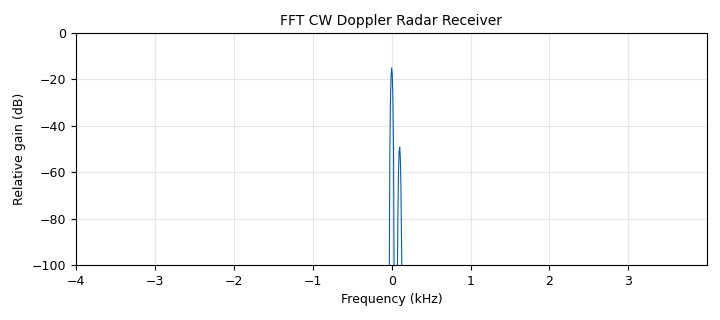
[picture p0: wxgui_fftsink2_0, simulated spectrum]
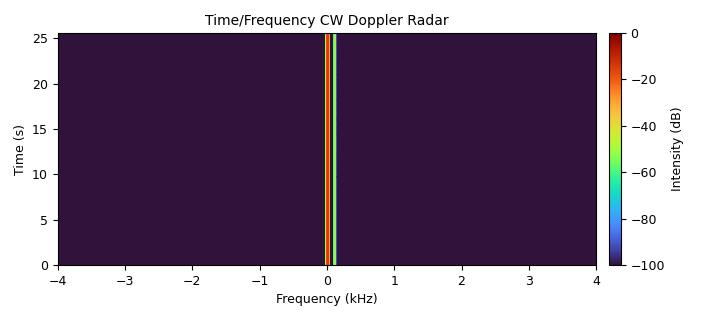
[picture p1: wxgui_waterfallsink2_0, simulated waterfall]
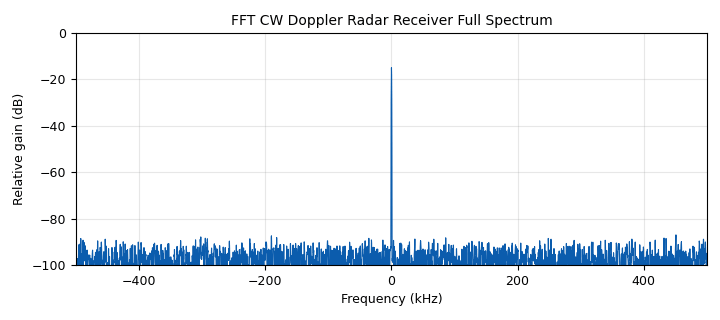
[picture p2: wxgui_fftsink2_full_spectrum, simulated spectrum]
<?xml version='1.0' encoding='utf-8'?>
<?grc format='1' created='3.7.6'?>
<flow_graph>
<block>
<key>blocks_add_xx</key>
<param><key>id</key><value>blocks_add_xx_1</value></param>
<param><key>type</key><value>complex</value></param>
<param><key>num_inputs</key><value>3</value></param>
</block>
<block>
<key>blocks_stream_to_vector</key>
<param><key>id</key><value>blocks_stream_to_vector_0</value></param>
<param><key>type</key><value>complex</value></param>
<param><key>num_items</key><value>fft_len</value></param>
</block>
<block>
<key>blocks_keep_m_in_n</key>
<param><key>id</key><value>blocks_keep_m_in_n_0</value></param>
<param><key>type</key><value>float</value></param>
<param><key>m</key><value>fft_len/2</value></param>
<param><key>n</key><value>fft_len</value></param>
<param><key>offset</key><value>0</value></param>
</block>
<block>
<key>blocks_stream_to_vector</key>
<param><key>id</key><value>blocks_stream_to_vector_1_0</value></param>
<param><key>type</key><value>float</value></param>
<param><key>num_items</key><value>fft_len/2</value></param>
</block>
<block>
<key>blocks_stream_to_vector</key>
<param><key>id</key><value>blocks_stream_to_vector_1</value></param>
<param><key>type</key><value>float</value></param>
<param><key>num_items</key><value>fft_len/2</value></param>
</block>
<block>
<key>blocks_throttle</key>
<param><key>id</key><value>blocks_throttle_0_1_0</value></param>
<param><key>type</key><value>complex</value></param>
<param><key>samples_per_second</key><value>samp_rate</value></param>
</block>
<block>
<key>rational_resampler_xxx</key>
<param><key>id</key><value>rational_resampler</value></param>
<param><key>type</key><value>ccc</value></param>
<param><key>interp</key><value>1</value></param>
<param><key>decim</key><value>int(samp_rate/samp_rate_sink)</value></param>
<param><key>taps</key><value></value></param>
</block>
<block>
<key>blocks_vector_to_stream</key>
<param><key>id</key><value>blocks_vector_to_stream_0</value></param>
<param><key>type</key><value>float</value></param>
<param><key>num_items</key><value>fft_len</value></param>
</block>
<block>
<key>blocks_vector_to_stream</key>
<param><key>id</key><value>blocks_vector_to_stream_0_0</value></param>
<param><key>type</key><value>float</value></param>
<param><key>num_items</key><value>fft_len</value></param>
</block>
<block>
<key>blocks_complex_to_mag</key>
<param><key>id</key><value>blocks_complex_to_mag</value></param>
<param><key>vlen</key><value>fft_len</value></param>
</block>
<block>
<key>blocks_multiply_xx</key>
<param><key>id</key><value>mixer</value></param>
<param><key>type</key><value>complex</value></param>
</block>
<block>
<key>blocks_add_xx</key>
<param><key>id</key><value>blocks_add_xx_0</value></param>
<param><key>type</key><value>complex</value></param>
</block>
<block>
<key>fft_vxx</key>
<param><key>id</key><value>fft</value></param>
<param><key>type</key><value>complex</value></param>
<param><key>fft_size</key><value>fft_len</value></param>
<param><key>forward</key><value>True</value></param>
<param><key>window</key><value>window.blackmanharris(fft_len)</value></param>
<param><key>shift</key><value>True</value></param>
</block>
<block>
<key>blocks_keep_m_in_n</key>
<param><key>id</key><value>blocks_keep_m_in_n_0_0</value></param>
<param><key>type</key><value>float</value></param>
<param><key>m</key><value>fft_len/2</value></param>
<param><key>n</key><value>fft_len</value></param>
<param><key>offset</key><value>fft_len/2</value></param>
</block>
<block>
<key>analog_sig_source_x</key>
<param><key>id</key><value>tx_signal</value></param>
<param><key>type</key><value>complex</value></param>
<param><key>samp_rate</key><value>samp_rate</value></param>
<param><key>waveform</key><value>analog.GR_COS_WAVE</value></param>
<param><key>freq</key><value>0</value></param>
<param><key>amp</key><value>0.5</value></param>
<param><key>offset</key><value>0</value></param>
</block>
<block>
<key>analog_sig_source_x</key>
<param><key>id</key><value>rx_signal_0</value></param>
<param><key>type</key><value>complex</value></param>
<param><key>samp_rate</key><value>samp_rate</value></param>
<param><key>waveform</key><value>analog.GR_COS_WAVE</value></param>
<param><key>freq</key><value>doppler_freq_sim_tuner</value></param>
<param><key>amp</key><value>tx_amp_tuner</value></param>
<param><key>offset</key><value>0</value></param>
</block>
<block>
<key>cwradar_vector_flip_ff</key>
<param><key>id</key><value>cwradar_vector_flip_ff</value></param>
<param><key>vlen</key><value>fft_len/2</value></param>
</block>
<block>
<key>parameter</key>
<param><key>id</key><value>angle</value></param>
<param><key>label</key><value>Angle (Deg)</value></param>
<param><key>value</key><value>0</value></param>
<param><key>type</key><value>eng_float</value></param>
</block>
<block>
<key>parameter</key>
<param><key>id</key><value>samp_rate</value></param>
<param><key>label</key><value>Sample Rate (Hz)</value></param>
<param><key>value</key><value>1e6</value></param>
<param><key>type</key><value>eng_float</value></param>
</block>
<block>
<key>variable_function_probe</key>
<param><key>id</key><value>target_speed</value></param>
<param><key>value</key><value>0</value></param>
<param><key>block_id</key><value>speed_probe</value></param>
<param><key>function_name</key><value>level</value></param>
<param><key>poll_rate</key><value>2</value></param>
</block>
<block>
<key>variable_function_probe</key>
<param><key>id</key><value>target_direction</value></param>
<param><key>value</key><value>0</value></param>
<param><key>block_id</key><value>direction_probe</value></param>
<param><key>function_name</key><value>level</value></param>
<param><key>poll_rate</key><value>2</value></param>
</block>
<block>
<key>wxgui_fftsink2</key>
<param><key>id</key><value>wxgui_fftsink2_0</value></param>
<param><key>type</key><value>complex</value></param>
<param><key>title</key><value>FFT CW Doppler Radar Receiver </value></param>
<param><key>samp_rate</key><value>samp_rate_sink</value></param>
<param><key>baseband_freq</key><value>0</value></param>
<param><key>y_per_div</key><value>10</value></param>
<param><key>y_divs</key><value>10</value></param>
<param><key>ref_level</key><value>0</value></param>
<param><key>ref_scale</key><value>2.0</value></param>
<param><key>fft_size</key><value>1024</value></param>
<param><key>fft_rate</key><value>15</value></param>
<param><key>peak_hold</key><value>False</value></param>
<param><key>average</key><value>False</value></param>
<param><key>avg_alpha</key><value>0</value></param>
<param><key>win</key><value>window.blackmanharris</value></param>
<param><key>notebook</key><value>notebook, 0</value></param>
<param><key>freqvar</key><value>None</value></param>
</block>
<block>
<key>wxgui_waterfallsink2</key>
<param><key>id</key><value>wxgui_waterfallsink2_0</value></param>
<param><key>type</key><value>complex</value></param>
<param><key>title</key><value>Time/Frequency CW Doppler Radar</value></param>
<param><key>samp_rate</key><value>samp_rate_sink</value></param>
<param><key>baseband_freq</key><value>0</value></param>
<param><key>dynamic_range</key><value>100</value></param>
<param><key>ref_level</key><value>0</value></param>
<param><key>ref_scale</key><value>2.0</value></param>
<param><key>fft_size</key><value>1024</value></param>
<param><key>fft_rate</key><value>15</value></param>
<param><key>average</key><value>True</value></param>
<param><key>avg_alpha</key><value>0</value></param>
<param><key>win</key><value>window.blackmanharris</value></param>
<param><key>notebook</key><value>notebook, 1</value></param>
<param><key>freqvar</key><value>None</value></param>
</block>
<block>
<key>parameter</key>
<param><key>id</key><value>threshold_dB</value></param>
<param><key>label</key><value>Threshold (dB)</value></param>
<param><key>value</key><value>-70</value></param>
<param><key>type</key><value>eng_float</value></param>
</block>
<block>
<key>parameter</key>
<param><key>id</key><value>rx_gain</value></param>
<param><key>label</key><value>RX Gain (dB)</value></param>
<param><key>value</key><value>0</value></param>
<param><key>type</key><value>intx</value></param>
</block>
<block>
<key>parameter</key>
<param><key>id</key><value>samp_rate_sink</value></param>
<param><key>label</key><value>Sample Rate FFT Sink (Hz)</value></param>
<param><key>value</key><value>8000</value></param>
<param><key>type</key><value>intx</value></param>
</block>
<block>
<key>parameter</key>
<param><key>id</key><value>tx_amp</value></param>
<param><key>label</key><value>TX Amplitude</value></param>
<param><key>value</key><value>10e-3</value></param>
<param><key>type</key><value>eng_float</value></param>
</block>
<block>
<key>parameter</key>
<param><key>id</key><value>lowpass_cutoff_freq</value></param>
<param><key>label</key><value>Low-Pass Cutoff Frequency (Hz)</value></param>
<param><key>value</key><value>1700</value></param>
<param><key>type</key><value>eng_float</value></param>
</block>
<block>
<key>parameter</key>
<param><key>id</key><value>RF</value></param>
<param><key>label</key><value>Radio Frequency (Hz)</value></param>
<param><key>value</key><value>2.49e9</value></param>
<param><key>type</key><value>eng_float</value></param>
</block>
<block>
<key>parameter</key>
<param><key>id</key><value>fft_len</value></param>
<param><key>label</key><value>FFT Length</value></param>
<param><key>value</key><value>pow(2,20)</value></param>
<param><key>type</key><value>intx</value></param>
</block>
<block>
<key>parameter</key>
<param><key>id</key><value>speed_samp_rate</value></param>
<param><key>label</key><value>Speed Sample Rate (Hz)</value></param>
<param><key>value</key><value>1</value></param>
<param><key>type</key><value>eng_float</value></param>
</block>
<block>
<key>parameter</key>
<param><key>id</key><value>DC_filter_num_elements</value></param>
<param><key>label</key><value>DC Filter Num Elements</value></param>
<param><key>value</key><value>4</value></param>
<param><key>type</key><value>intx</value></param>
</block>
<block>
<key>blocks_multiply_const_vxx</key>
<param><key>id</key><value>DC_filter</value></param>
<param><key>type</key><value>float</value></param>
<param><key>const</key><value>[0]*DC_filter_num_elements+[1]*((fft_len/2)-DC_filter_num_elements)</value></param>
<param><key>vlen</key><value>fft_len/2</value></param>
</block>
<block>
<key>blocks_multiply_const_vxx</key>
<param><key>id</key><value>DC_filter_0</value></param>
<param><key>type</key><value>float</value></param>
<param><key>const</key><value>[0]*DC_filter_num_elements+[1]*((fft_len/2)-DC_filter_num_elements)</value></param>
<param><key>vlen</key><value>fft_len/2</value></param>
</block>
<block>
<key>cwradar_doppler_velocity_single_target_ff</key>
<param><key>id</key><value>cwradar_doppler_velocity_single_target_ff_0</value></param>
<param><key>vlen</key><value>fft_len/2</value></param>
<param><key>samples_per_sec</key><value>samp_rate</value></param>
<param><key>radar_freq</key><value>RF_tuner</value></param>
<param><key>signal_min_dB</key><value>threshold_dB_tuner</value></param>
<param><key>angle_of_approach</key><value>angle_tuner</value></param>
<param><key>lowpass_cut_freq</key><value>lowpass_cutoff_freq_tuner</value></param>
<param><key>highpass_cut_freq</key><value>highpass_cutoff_freq_tuner</value></param>
</block>
<block>
<key>parameter</key>
<param><key>id</key><value>highpass_cutoff_freq</value></param>
<param><key>label</key><value>High-Pass Cutoff Frequency (Hz)</value></param>
<param><key>value</key><value>0</value></param>
<param><key>type</key><value>eng_float</value></param>
</block>
<block>
<key>blocks_probe_signal_x</key>
<param><key>id</key><value>speed_probe</value></param>
<param><key>type</key><value>float</value></param>
</block>
<block>
<key>blocks_probe_signal_x</key>
<param><key>id</key><value>direction_probe</value></param>
<param><key>type</key><value>int</value></param>
</block>
<block>
<key>wxgui_fftsink2</key>
<param><key>id</key><value>wxgui_fftsink2_full_spectrum</value></param>
<param><key>type</key><value>complex</value></param>
<param><key>title</key><value>FFT CW Doppler Radar Receiver Full Spectrum</value></param>
<param><key>samp_rate</key><value>samp_rate</value></param>
<param><key>baseband_freq</key><value>0</value></param>
<param><key>y_per_div</key><value>10</value></param>
<param><key>y_divs</key><value>10</value></param>
<param><key>ref_level</key><value>0</value></param>
<param><key>ref_scale</key><value>2.0</value></param>
<param><key>fft_size</key><value>4096</value></param>
<param><key>fft_rate</key><value>15</value></param>
<param><key>peak_hold</key><value>False</value></param>
<param><key>average</key><value>False</value></param>
<param><key>avg_alpha</key><value>0</value></param>
<param><key>win</key><value>window.blackmanharris</value></param>
<param><key>notebook</key><value>notebook, 2</value></param>
<param><key>freqvar</key><value>None</value></param>
</block>
<block>
<key>analog_noise_source_x</key>
<param><key>id</key><value>awgn_channel_simulator</value></param>
<param><key>type</key><value>complex</value></param>
<param><key>noise_type</key><value>analog.GR_GAUSSIAN</value></param>
<param><key>amp</key><value>1e-3</value></param>
<param><key>seed</key><value>0</value></param>
</block>
<block>
<key>blocks_file_sink</key>
<param><key>id</key><value>file_negative_frequency</value></param>
<param><key>_enabled</key><value>False</value></param>
<param><key>file</key><value>CW_Radar_Simulator_ST_neg.dat</value></param>
<param><key>type</key><value>float</value></param>
<param><key>vlen</key><value>fft_len/2</value></param>
</block>
<block>
<key>blocks_file_sink</key>
<param><key>id</key><value>file_positive_frequency</value></param>
<param><key>_enabled</key><value>False</value></param>
<param><key>file</key><value>CW_Radar_Simulator_ST_pos.dat</value></param>
<param><key>type</key><value>float</value></param>
<param><key>vlen</key><value>fft_len/2</value></param>
</block>
<block>
<key>variable_slider</key>
<param><key>id</key><value>threshold_dB_tuner</value></param>
<param><key>label</key><value>Detected Target Threshold (dB)</value></param>
<param><key>value</key><value>threshold_dB</value></param>
<param><key>min</key><value>-90</value></param>
<param><key>max</key><value>-30</value></param>
<param><key>num_steps</key><value>60</value></param>
<param><key>style</key><value>wx.SL_HORIZONTAL</value></param>
<param><key>converver</key><value>float_converter</value></param>
<param><key>grid_pos</key><value>2,0,1,17</value></param>
</block>
<block>
<key>variable_slider</key>
<param><key>id</key><value>rx_gain_tuner</value></param>
<param><key>label</key><value>USRP RX Gain (dB)</value></param>
<param><key>value</key><value>rx_gain</value></param>
<param><key>min</key><value>0</value></param>
<param><key>max</key><value>70</value></param>
<param><key>num_steps</key><value>70</value></param>
<param><key>style</key><value>wx.SL_HORIZONTAL</value></param>
<param><key>converver</key><value>float_converter</value></param>
<param><key>grid_pos</key><value>0,0,1,17</value></param>
</block>
<block>
<key>variable_slider</key>
<param><key>id</key><value>RF_tuner</value></param>
<param><key>label</key><value>Radar Frequency (Hz)</value></param>
<param><key>value</key><value>RF</value></param>
<param><key>min</key><value>2.4e9</value></param>
<param><key>max</key><value>2.5e9</value></param>
<param><key>num_steps</key><value>1000</value></param>
<param><key>style</key><value>wx.SL_HORIZONTAL</value></param>
<param><key>converver</key><value>float_converter</value></param>
<param><key>grid_pos</key><value>1,0,1,17</value></param>
</block>
<block>
<key>variable_slider</key>
<param><key>id</key><value>highpass_cutoff_freq_tuner</value></param>
<param><key>label</key><value>High-Pass Cutoff Frequency (Hz)</value></param>
<param><key>value</key><value>highpass_cutoff_freq</value></param>
<param><key>min</key><value>0</value></param>
<param><key>max</key><value>1600</value></param>
<param><key>num_steps</key><value>1000</value></param>
<param><key>style</key><value>wx.SL_HORIZONTAL</value></param>
<param><key>converver</key><value>float_converter</value></param>
<param><key>grid_pos</key><value>0,43,1,32</value></param>
</block>
<block>
<key>variable_slider</key>
<param><key>id</key><value>lowpass_cutoff_freq_tuner</value></param>
<param><key>label</key><value>Lowpass Cutoff Frequency (Hz)</value></param>
<param><key>value</key><value>lowpass_cutoff_freq</value></param>
<param><key>min</key><value>0</value></param>
<param><key>max</key><value>3000</value></param>
<param><key>num_steps</key><value>1000</value></param>
<param><key>style</key><value>wx.SL_HORIZONTAL</value></param>
<param><key>converver</key><value>float_converter</value></param>
<param><key>grid_pos</key><value>1,43,1,32</value></param>
</block>
<block>
<key>variable_slider</key>
<param><key>id</key><value>tx_amp_tuner</value></param>
<param><key>label</key><value>TX Signal Amp</value></param>
<param><key>value</key><value>tx_amp</value></param>
<param><key>min</key><value>0</value></param>
<param><key>max</key><value>100e-3</value></param>
<param><key>num_steps</key><value>1000</value></param>
<param><key>style</key><value>wx.SL_HORIZONTAL</value></param>
<param><key>converver</key><value>float_converter</value></param>
<param><key>grid_pos</key><value>0,17,1,26</value></param>
</block>
<block>
<key>variable_slider</key>
<param><key>id</key><value>angle_tuner</value></param>
<param><key>label</key><value>Angle of Approach of the Target (Deg)</value></param>
<param><key>value</key><value>angle</value></param>
<param><key>min</key><value>0</value></param>
<param><key>max</key><value>89</value></param>
<param><key>num_steps</key><value>890</value></param>
<param><key>style</key><value>wx.SL_HORIZONTAL</value></param>
<param><key>converver</key><value>float_converter</value></param>
<param><key>grid_pos</key><value>1,17,1,26</value></param>
</block>
<block>
<key>variable_text_box</key>
<param><key>id</key><value>speed_textbox</value></param>
<param><key>label</key><value>Target Speed (Kph)</value></param>
<param><key>value</key><value>target_speed</value></param>
<param><key>converver</key><value>float_converter</value></param>
<param><key>formatter</key><value>None</value></param>
<param><key>grid_pos</key><value>3,0,1,17</value></param>
</block>
<block>
<key>variable_text_box</key>
<param><key>id</key><value>direction_textbox</value></param>
<param><key>label</key><value>Target Direction</value></param>
<param><key>value</key><value>target_direction</value></param>
<param><key>converver</key><value>str_converter</value></param>
<param><key>formatter</key><value>None</value></param>
<param><key>grid_pos</key><value>4,0,1,17</value></param>
</block>
<block>
<key>notebook</key>
<param><key>id</key><value>notebook</value></param>
<param><key>style</key><value>wx.NB_TOP</value></param>
<param><key>labels</key><value>['FFT CW Doppler Radar Receiver', 'Frequency/Time CW Doppler Radar Receiver', 'FFT CW Doppler Radar Receiver Full Spectrum']</value></param>
<param><key>grid_pos</key><value>5,0,13,75</value></param>
</block>
<block>
<key>variable_slider</key>
<param><key>id</key><value>doppler_freq_sim_tuner</value></param>
<param><key>label</key><value>Doppler Frequency Simulator (Hz)</value></param>
<param><key>value</key><value>100</value></param>
<param><key>min</key><value>-2000</value></param>
<param><key>max</key><value>2000</value></param>
<param><key>num_steps</key><value>1000</value></param>
<param><key>style</key><value>wx.SL_HORIZONTAL</value></param>
<param><key>converver</key><value>float_converter</value></param>
<param><key>grid_pos</key><value>2,17,1,58</value></param>
</block>
<block>
<key>options</key>
<param><key>id</key><value>CW_Radar_Simulator_Single_Target</value></param>
<param><key>title</key><value>CW Doppler Radar Simulator Single Target</value></param>
<param><key>author</key><value>Gabriel Gomez Molina</value></param>
<param><key>description</key><value>CW Doppler Radar Simulator for the CW Radar Project</value></param>
<param><key>generate_options</key><value>wx_gui</value></param>
<param><key>category</key><value></value></param>
<param><key>realtime_scheduling</key><value>1</value></param>
</block>
<connection><source_block_id>awgn_channel_simulator</source_block_id><sink_block_id>blocks_add_xx_1</sink_block_id><source_key>0</source_key><sink_key>0</sink_key></connection>
<connection><source_block_id>tx_signal</source_block_id><sink_block_id>blocks_add_xx_1</sink_block_id><source_key>0</source_key><sink_key>1</sink_key></connection>
<connection><source_block_id>rx_signal_0</source_block_id><sink_block_id>blocks_add_xx_1</sink_block_id><source_key>0</source_key><sink_key>2</sink_key></connection>
<connection><source_block_id>mixer</source_block_id><sink_block_id>blocks_throttle_0_1_0</sink_block_id><source_key>0</source_key><sink_key>0</sink_key></connection>
<connection><source_block_id>mixer</source_block_id><sink_block_id>blocks_stream_to_vector_0</sink_block_id><source_key>0</source_key><sink_key>0</sink_key></connection>
<connection><source_block_id>blocks_throttle_0_1_0</source_block_id><sink_block_id>wxgui_fftsink2_full_spectrum</sink_block_id><source_key>0</source_key><sink_key>0</sink_key></connection>
<connection><source_block_id>rational_resampler</source_block_id><sink_block_id>wxgui_fftsink2_0</sink_block_id><source_key>0</source_key><sink_key>0</sink_key></connection>
<connection><source_block_id>blocks_throttle_0_1_0</source_block_id><sink_block_id>rational_resampler</sink_block_id><source_key>0</source_key><sink_key>0</sink_key></connection>
<connection><source_block_id>rational_resampler</source_block_id><sink_block_id>wxgui_waterfallsink2_0</sink_block_id><source_key>0</source_key><sink_key>0</sink_key></connection>
<connection><source_block_id>blocks_add_xx_1</source_block_id><sink_block_id>mixer</sink_block_id><source_key>0</source_key><sink_key>1</sink_key></connection>
<connection><source_block_id>blocks_stream_to_vector_0</source_block_id><sink_block_id>fft</sink_block_id><source_key>0</source_key><sink_key>0</sink_key></connection>
<connection><source_block_id>fft</source_block_id><sink_block_id>blocks_complex_to_mag</sink_block_id><source_key>0</source_key><sink_key>0</sink_key></connection>
<connection><source_block_id>blocks_complex_to_mag</source_block_id><sink_block_id>blocks_vector_to_stream_0</sink_block_id><source_key>0</source_key><sink_key>0</sink_key></connection>
<connection><source_block_id>blocks_complex_to_mag</source_block_id><sink_block_id>blocks_vector_to_stream_0_0</sink_block_id><source_key>0</source_key><sink_key>0</sink_key></connection>
<connection><source_block_id>blocks_vector_to_stream_0_0</source_block_id><sink_block_id>blocks_keep_m_in_n_0_0</sink_block_id><source_key>0</source_key><sink_key>0</sink_key></connection>
<connection><source_block_id>blocks_keep_m_in_n_0</source_block_id><sink_block_id>blocks_stream_to_vector_1</sink_block_id><source_key>0</source_key><sink_key>0</sink_key></connection>
<connection><source_block_id>blocks_keep_m_in_n_0_0</source_block_id><sink_block_id>blocks_stream_to_vector_1_0</sink_block_id><source_key>0</source_key><sink_key>0</sink_key></connection>
<connection><source_block_id>blocks_vector_to_stream_0</source_block_id><sink_block_id>blocks_keep_m_in_n_0</sink_block_id><source_key>0</source_key><sink_key>0</sink_key></connection>
<connection><source_block_id>blocks_stream_to_vector_1_0</source_block_id><sink_block_id>DC_filter_0</sink_block_id><source_key>0</source_key><sink_key>0</sink_key></connection>
<connection><source_block_id>blocks_stream_to_vector_1</source_block_id><sink_block_id>cwradar_vector_flip_ff</sink_block_id><source_key>0</source_key><sink_key>0</sink_key></connection>
<connection><source_block_id>cwradar_vector_flip_ff</source_block_id><sink_block_id>DC_filter</sink_block_id><source_key>0</source_key><sink_key>0</sink_key></connection>
<connection><source_block_id>blocks_add_xx_0</source_block_id><sink_block_id>mixer</sink_block_id><source_key>0</source_key><sink_key>0</sink_key></connection>
<connection><source_block_id>tx_signal</source_block_id><sink_block_id>blocks_add_xx_0</sink_block_id><source_key>0</source_key><sink_key>1</sink_key></connection>
<connection><source_block_id>awgn_channel_simulator</source_block_id><sink_block_id>blocks_add_xx_0</sink_block_id><source_key>0</source_key><sink_key>0</sink_key></connection>
<connection><source_block_id>DC_filter_0</source_block_id><sink_block_id>cwradar_doppler_velocity_single_target_ff_0</sink_block_id><source_key>0</source_key><sink_key>1</sink_key></connection>
<connection><source_block_id>DC_filter</source_block_id><sink_block_id>cwradar_doppler_velocity_single_target_ff_0</sink_block_id><source_key>0</source_key><sink_key>0</sink_key></connection>
<connection><source_block_id>cwradar_doppler_velocity_single_target_ff_0</source_block_id><sink_block_id>direction_probe</sink_block_id><source_key>1</source_key><sink_key>0</sink_key></connection>
<connection><source_block_id>cwradar_doppler_velocity_single_target_ff_0</source_block_id><sink_block_id>speed_probe</sink_block_id><source_key>0</source_key><sink_key>0</sink_key></connection>
<connection><source_block_id>DC_filter</source_block_id><sink_block_id>file_negative_frequency</sink_block_id><source_key>0</source_key><sink_key>0</sink_key></connection>
<connection><source_block_id>DC_filter_0</source_block_id><sink_block_id>file_positive_frequency</sink_block_id><source_key>0</source_key><sink_key>0</sink_key></connection>
</flow_graph>
